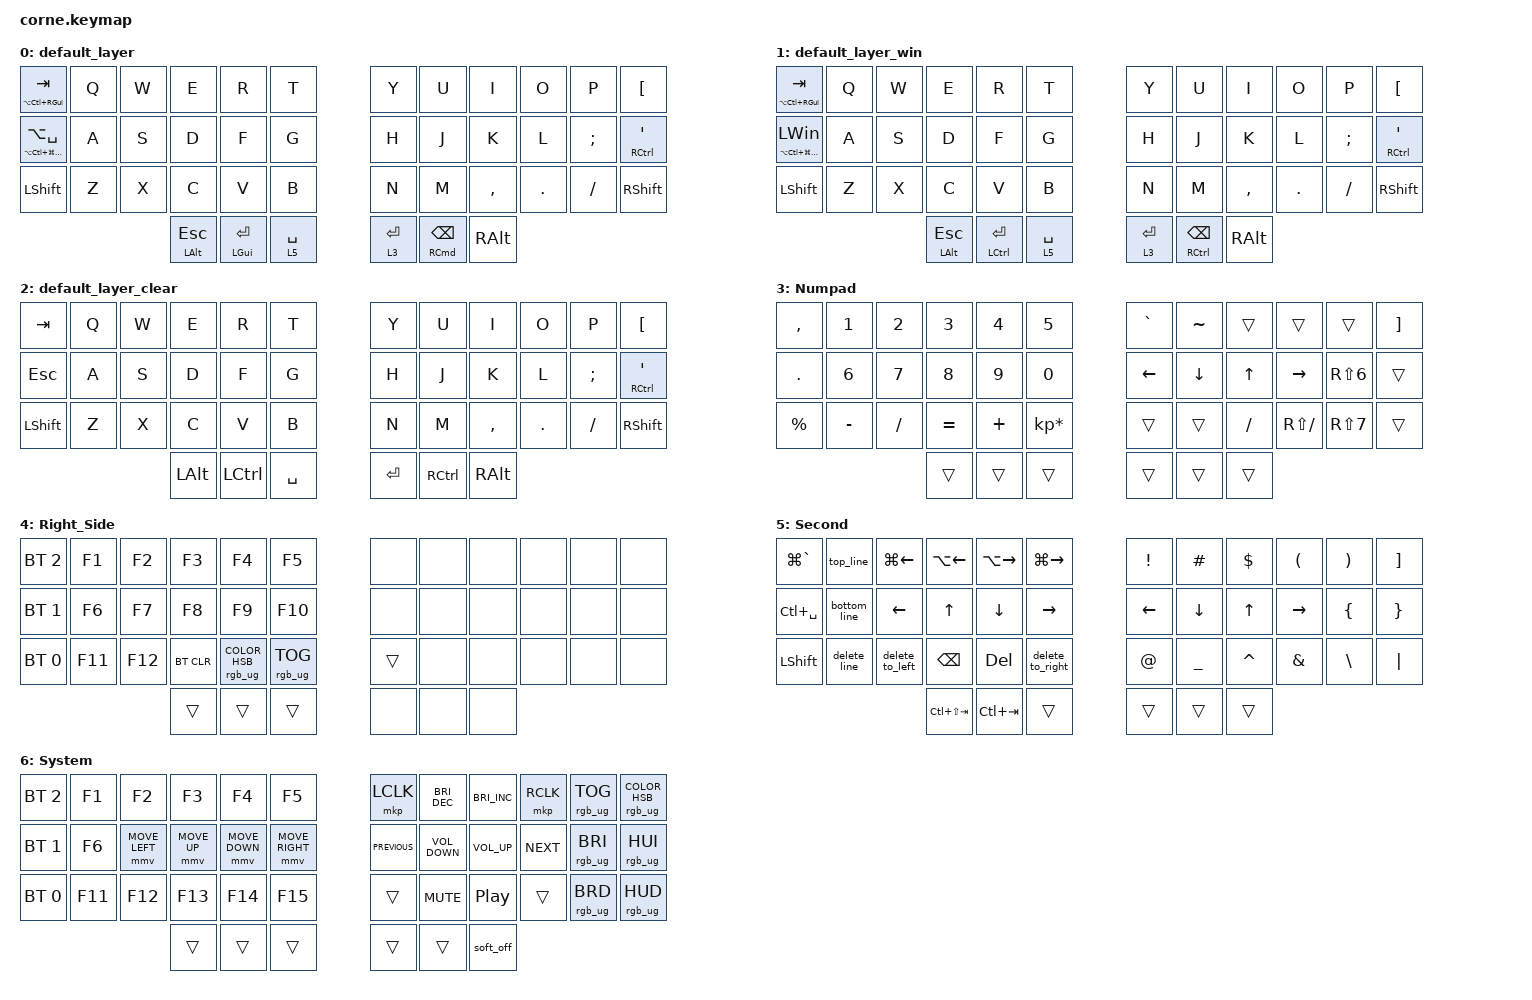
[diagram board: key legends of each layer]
/*
 * Copyright (c) 2020 The ZMK Contributors
 *
 * SPDX-License-Identifier: MIT
 */

#define ZMK_POINTING_DEFAULT_MOVE_VAL 1200  // default: 600

#include <behaviors.dtsi>
#include <dt-bindings/zmk/bt.h>
#include <dt-bindings/zmk/keys.h>
#include <dt-bindings/zmk/pointing.h>
#include <dt-bindings/zmk/rgb.h>

&led_strip { chain-length = <1>; };

/ {
    combos {
        compatible = "zmk,combos";

        Caps_Word {
            bindings = <&caps_word>;
            key-positions = <24 35>;
        };

        Caps_Lock {
            bindings = <&kp CLCK>;
            key-positions = <12 23>;
        };

        num_toggle {
            bindings = <&to_num_lay>;
            key-positions = <16 17>;
        };

        right_side_toggle {
            bindings = <&to_right_side>;
            key-positions = <5 4>;
        };

        cmd_backspace {
            bindings = <&kp LG(BACKSPACE)>;
            key-positions = <36 37>;
        };

        to_default_win {
            bindings = <&tog 1>;
            key-positions = <28 29>;
        };
    };

    macros {
        copy_line: copy_line {
            compatible = "zmk,behavior-macro";
            #binding-cells = <0>;
            bindings = <&kt LG(LEFT_ARROW) &kp LG(LS(RIGHT)) &kp LG(C) &kp LEFT_ARROW>;
            label = "COPY_LINE";
        };

        find_word: find_word {
            compatible = "zmk,behavior-macro";
            #binding-cells = <0>;
            bindings = <&kp RA(LEFT_ARROW) &kp RS(RA(RIGHT)) &kp LG(C) &kp LG(F)>;
            label = "FIND_WORD";
        };

        bottom_line: bottom_line {
            compatible = "zmk,behavior-macro";
            #binding-cells = <0>;
            bindings = <&kp RG(RIGHT) &kp RS(ENTER)>;
            label = "BOTTOM_LINE";
        };

        top_line: top_line {
            compatible = "zmk,behavior-macro";
            #binding-cells = <0>;
            bindings = <&kp RG(LEFT) &kp RS(ENTER) &kp UP_ARROW>;
            label = "TOP_LINE";
        };

        delete_line: delete_line {
            compatible = "zmk,behavior-macro";
            #binding-cells = <0>;
            bindings = <&kp RG(LEFT_ARROW) &kp RC(K)>;
            label = "DELETE_LINE";
        };

        delete_to_left: delete_to_left {
            compatible = "zmk,behavior-macro";
            #binding-cells = <0>;
            bindings = <&kp RS(RG(LEFT_ARROW)) &kp BACKSPACE>;
            label = "DELETE_TO_LEFT";
        };

        delete_full_line: delete_full_line {
            compatible = "zmk,behavior-macro";
            #binding-cells = <0>;
            bindings = <&kp RG(LEFT_ARROW) &kp RC(K) &kp BACKSPACE>;
            label = "DELETE_FULL_LINE";
        };

        to_num_lay: to_num {
            compatible = "zmk,behavior-macro";
            #binding-cells = <0>;
            bindings = <&tog 3 &rgb_ug RGB_COLOR_HSB(109,100,50) &rgb_ug RGB_TOG>;
            label = "TO_NUM";
        };

        to_right_side: to_right {
            compatible = "zmk,behavior-macro";
            #binding-cells = <0>;
            bindings = <&tog 4 &rgb_ug RGB_COLOR_HSB(42,100,50) &rgb_ug RGB_TOG>;
            label = "TO_RIGHT";
        };

        delete_to_right: delete_to_right {
            compatible = "zmk,behavior-macro";
            #binding-cells = <0>;
            bindings = <&kp LG(LS(RIGHT)) &kp BACKSPACE>;
            label = "DELETE_TO_RIGHT";
        };
    };

    keymap {
        compatible = "zmk,keymap";

        default_layer {
            // -----------------------------------------------------------------------------------------
            // |  TAB |  Q  |  W  |  E  |  R  |  T  |   |  Y  |  U   |  I  |  O  |  P  | BKSP |
            // | CTRL |  A  |  S  |  D  |  F  |  G  |   |  H  |  J   |  K  |  L  |  ;  |  '   |
            // | SHFT |  Z  |  X  |  C  |  V  |  B  |   |  N  |  M   |  ,  |  .  |  /  | ESC  |
            //                    | GUI | LWR | SPC |   | ENT | RSE  | ALT |

            bindings = <
&mt LA(LC(RIGHT_GUI)) TAB              &kp Q  &kp W  &kp E             &kp R               &kp T          &kp Y        &kp U                        &kp I          &kp O    &kp P     &kp LEFT_BRACKET
&mt LA(LC(LG(RIGHT_SHIFT))) LA(SPACE)  &kp A  &kp S  &kp D             &kp F               &kp G          &kp H        &kp J                        &kp K          &kp L    &kp SEMI  &mt RIGHT_CONTROL SQT
&kp LEFT_SHIFT                         &kp Z  &kp X  &kp C             &kp V               &kp B          &kp N        &kp M                        &kp COMMA      &kp DOT  &kp FSLH  &kp RIGHT_SHIFT
                                                     &mt LEFT_ALT ESC  &mt LEFT_GUI ENTER  &lt 5 SPACE    &lt 3 ENTER  &mt RIGHT_COMMAND BACKSPACE  &kp RIGHT_ALT
            >;
        };

        default_layer_win {
            bindings = <
&mt LA(LC(RIGHT_GUI)) TAB             &kp Q  &kp W  &kp E             &kp R            &kp T          &kp Y        &kp U                &kp I          &kp O    &kp P     &kp LEFT_BRACKET
&mt LA(LC(LG(RIGHT_SHIFT))) LEFT_WIN  &kp A  &kp S  &kp D             &kp F            &kp G          &kp H        &kp J                &kp K          &kp L    &kp SEMI  &mt RIGHT_CONTROL SQT
&kp LEFT_SHIFT                        &kp Z  &kp X  &kp C             &kp V            &kp B          &kp N        &kp M                &kp COMMA      &kp DOT  &kp FSLH  &kp RIGHT_SHIFT
                                                    &mt LEFT_ALT ESC  &mt LCTRL ENTER  &lt 5 SPACE    &lt 3 ENTER  &mt RCTRL BACKSPACE  &kp RIGHT_ALT
            >;
        };

        default_layer_clear {
            bindings = <
&kp TAB         &kp Q  &kp W  &kp E         &kp R      &kp T        &kp Y      &kp U      &kp I          &kp O    &kp P     &kp LEFT_BRACKET
&kp ESC         &kp A  &kp S  &kp D         &kp F      &kp G        &kp H      &kp J      &kp K          &kp L    &kp SEMI  &mt RIGHT_CONTROL SQT
&kp LEFT_SHIFT  &kp Z  &kp X  &kp C         &kp V      &kp B        &kp N      &kp M      &kp COMMA      &kp DOT  &kp FSLH  &kp RIGHT_SHIFT
                              &kp LEFT_ALT  &kp LCTRL  &kp SPACE    &kp ENTER  &kp RCTRL  &kp RIGHT_ALT
            >;
        };

        Numpad {
            bindings = <
&kp COMMA   &kp NUMBER_1  &kp NUMBER_2  &kp NUMBER_3  &kp NUMBER_4  &kp NUMBER_5       &kp GRAVE       &kp TILDE       &trans        &trans           &trans            &kp RIGHT_BRACKET
&kp PERIOD  &kp NUMBER_6  &kp NUMBER_7  &kp N8        &kp NUMBER_9  &kp NUMBER_0       &kp LEFT_ARROW  &kp DOWN_ARROW  &kp UP_ARROW  &kp RIGHT_ARROW  &kp RS(NUMBER_6)  &trans
&kp PRCNT   &kp MINUS     &kp FSLH      &kp EQUAL     &kp PLUS      &kp KP_MULTIPLY    &trans          &trans          &kp FSLH      &kp RS(FSLH)     &kp RS(N7)        &trans
                                        &trans        &trans        &trans             &trans          &trans          &trans
            >;
        };

        Right_Side {
            bindings = <
&bt BT_SEL 2  &kp F1   &kp F2   &kp F3      &kp F4                            &kp F5             &none   &none  &none  &none  &none  &none
&bt BT_SEL 1  &kp F6   &kp F7   &kp F8      &kp F9                            &kp F10            &none   &none  &none  &none  &none  &none
&bt BT_SEL 0  &kp F11  &kp F12  &bt BT_CLR  &rgb_ug RGB_COLOR_HSB(186,89,53)  &rgb_ug RGB_TOG    &trans  &none  &none  &none  &none  &none
                                &trans      &trans                            &trans             &none   &none  &none
            >;
        };

        Second {
            // -----------------------------------------------------------------------------------------
            // |  TAB |  1  |  2  |  3  |  4  |  5  |   |  6  |  7  |  8  |  9  |  0  | BKSP |
            // | BTCLR| BT1 | BT2 | BT3 | BT4 | BT5 |   | LFT | DWN |  UP | RGT |     |      |
            // | SHFT |     |     |     |     |     |   |     |     |     |     |     |      |
            //                    | GUI |     | SPC |   | ENT |     | ALT |

            bindings = <
&kp LG(GRAVE)   &top_line     &kp LG(LEFT_ARROW)  &kp LA(LEFT_ARROW)  &kp LA(RIGHT)   &kp LG(RIGHT_ARROW)    &kp EXCL  &kp HASH   &kp DLLR      &kp LPAR       &kp RPAR        &kp RBKT
&kp LC(SPACE)   &bottom_line  &kp LEFT_ARROW      &kp UP_ARROW        &kp DOWN_ARROW  &kp RIGHT              &kp LEFT  &kp DOWN   &kp UP_ARROW  &kp RIGHT      &kp LEFT_BRACE  &kp RIGHT_BRACE
&kp LEFT_SHIFT  &delete_line  &delete_to_left     &kp BACKSPACE       &kp DELETE      &delete_to_right       &kp AT    &kp UNDER  &kp CARET     &kp AMPERSAND  &kp BSLH        &kp PIPE
                                                  &kp LC(LS(TAB))     &kp LC(TAB)     &trans                 &trans    &trans     &trans
            >;
        };

        System {
            bindings = <
&bt BT_SEL 2  &kp F1   &kp F2          &kp F3        &kp F4          &kp F5             &mkp LCLK       &kp C_BRIGHTNESS_DEC  &kp C_BRIGHTNESS_INC  &mkp RCLK   &rgb_ug RGB_TOG  &rgb_ug RGB_COLOR_HSB(0,100,50)
&bt BT_SEL 1  &kp F6   &mmv MOVE_LEFT  &mmv MOVE_UP  &mmv MOVE_DOWN  &mmv MOVE_RIGHT    &kp C_PREVIOUS  &kp C_VOLUME_DOWN     &kp C_VOLUME_UP       &kp C_NEXT  &rgb_ug RGB_BRI  &rgb_ug RGB_HUI
&bt BT_SEL 0  &kp F11  &kp F12         &kp F13       &kp F14         &kp F15            &trans          &kp K_MUTE            &kp C_PP              &trans      &rgb_ug RGB_BRD  &rgb_ug RGB_HUD
                                       &trans        &trans          &trans             &trans          &trans                &soft_off
            >;
        };
    };

    conditional_layers {
        compatible = "zmk,conditional-layers";

        system {
            if-layers = <5 3>;
            then-layer = <6>;
        };
    };
};
